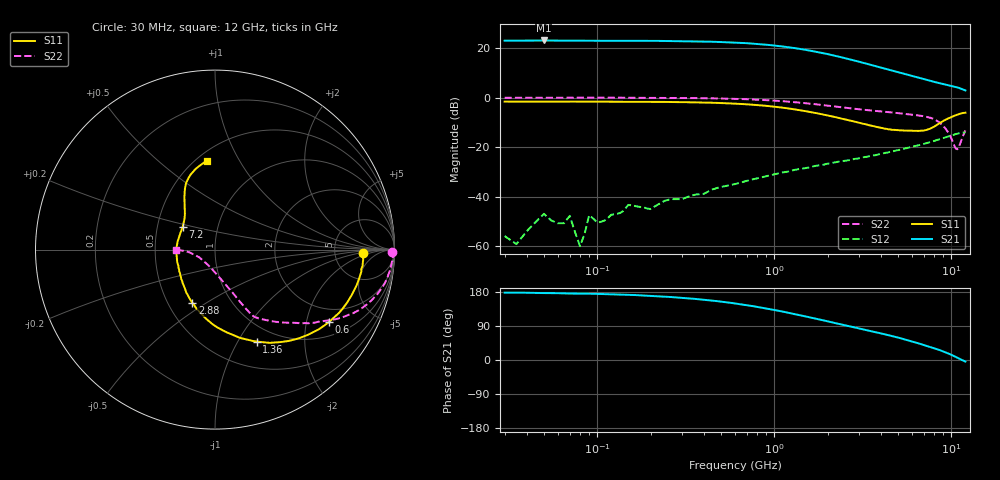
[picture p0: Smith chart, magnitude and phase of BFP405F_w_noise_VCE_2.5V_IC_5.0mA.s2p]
! Infineon Technologies  Discrete & RF Semiconductors
! BFP405F
! VCE =  2.5 V,  IC =  5.0 mA
! Common Emitter S-Parameters:  Nov 2015
# GHz  S  MA  R  50
!  f  S11  S21  S12  S22
! GHz  MAG  ANG  MAG  ANG  MAG  ANG  MAG  ANG
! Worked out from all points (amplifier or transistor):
!   239 points, 30 MHz to 12 GHz, reference 50 ohm
!   highest |S21| = 23.0 dB at 50 MHz (marker M1)
!   |S21| within 3 dB of that: start of sweep to 1.279 GHz
!   unconditionally stable (mu >= 1): 2.934 GHz to end of sweep
!   at 300 MHz: K = 0.12, MSG = 31.9 dB, |S12| = -41.0 dB
!   at 1.88 GHz: K = 0.67, MSG = 22.5 dB, |S12| = -27.2 dB
!   at 12 GHz: K = 1.46, MAG = 4.4 dB, |S12| = -14.0 dB
!   lowest NFmin = 1.29 dB at 450 MHz
!   S11 on the Smith chart (normalised r, x): 30 MHz: 10, -1; 600 MHz: 1.46, -2.72; 1.36 GHz: 0.80, -1.20; 2.88 GHz: 0.66, -0.44; 7.2 GHz: 0.68, +0.18; 12 GHz: 0.57, +0.74
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0.03  0.8275 -1.5  14.03 177.7  0.0016 -141.7  0.9879 -0.7
0.035  0.8262 -1.7  14.04 177.6  0.0011 156.7  0.989 -0.8
0.05  0.8279 -3.0  14.18 176.6  0.0045 68.1  0.9928 -1.2
0.07  0.8279 -4.0  14.04 175.4  0.0041 84.9  0.992 -1.8
0.08  0.8269 -4.5  13.98 175.0  0.001 -26.9  0.9923 -1.8
0.085  0.8268 -4.7  14.01 175.0  0.0018 88.8  0.9918 -2.1
0.09  0.8267 -5.0  14.04 175.0  0.0042 101.2  0.9914 -2.4
0.105  0.8273 -5.9  13.96 174.2  0.0031 103.4  0.9911 -2.8
0.15  0.8248 -8.4  14.02 172.2  0.0068 81.8  0.9886 -3.8
0.24  0.8153 -13.4  13.84 167.2  0.0082 77.3  0.9831 -6.2
0.4  0.7924 -22.1  13.5 159.0  0.0114 81.5  0.969 -10.2
0.6  0.7527 -32.5  12.85 149.2  0.0179 76.5  0.9403 -15.0
0.9  0.6798 -46.7  11.66 135.9  0.0259 71.1  0.8863 -21.2
1.36  0.5627 -65.5  9.708 119.3  0.0356 64.9  0.7947 -28.6
1.64  0.5016 -75.6  8.661 111.0  0.0403 62.5  0.7444 -32.0
2.2  0.4035 -94.2  6.967 97.5  0.0488 58.8  0.6604 -38.4
2.88  0.3226 -112.9  5.496 85.3  0.0582 56.6  0.5895 -43.8
4.5  0.2275 -153.3  3.591 64.5  0.0799 52.5  0.5041 -52.1
7.2  0.2207 144.6  2.281 37.8  0.1191 45.3  0.4093 -60.8
9  0.3368 120.4  1.871 22.5  0.1522 38.6  0.2674 -67.2
10.8  0.4501 105.8  1.598 6.1  0.1859 28.3  0.0904 -135.7
12  0.4939 94.9  1.39 -4.2  0.1993 22.0  0.2164 -179.9
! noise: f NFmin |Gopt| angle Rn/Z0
0.45  1.29  0.38  5  0.34
0.9  1.3  0.35  13  0.36
1.5  1.37  0.33  18  0.31
1.9  1.4  0.31  25  0.32
2.4  1.56  0.29  33  0.34
3  1.63  0.27  45  0.32
3.5  1.68  0.25  54  0.31
4.5  1.84  0.2  66  0.28
5.5  2.06  0.12  78  0.11
